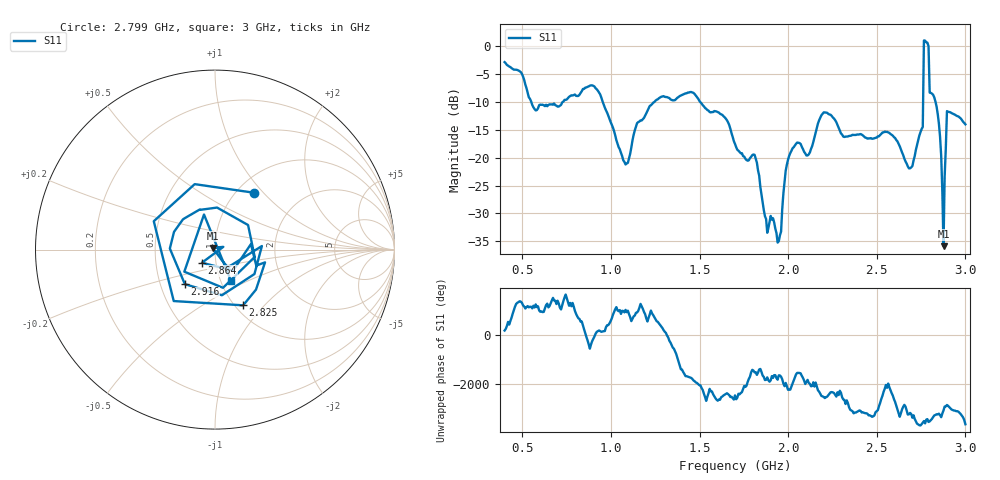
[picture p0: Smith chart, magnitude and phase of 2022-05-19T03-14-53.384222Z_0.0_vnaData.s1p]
!Created with skrf (http://scikit-rf.org).
# Hz S RI R 50.0
!freq ReS11 ImS11
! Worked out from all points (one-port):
!   401 points, 400 MHz to 3 GHz, reference 50 ohm
!   lowest |S11| = -35.9 dB at 2.877 GHz (marker M1), VSWR 1.03, Z = 48.7 + j0.955 ohm
!   |S11| at or under -10 dB: 550.7 MHz to 728 MHz (177.3 MHz wide, 27.7 % of centre); 953.9 MHz to 1.245 GHz (290.9 MHz wide, 26.5 % of centre); 1.504 GHz to 2.761 GHz (1.257 GHz wide, 59 % of centre) (the widest 3 of 4)
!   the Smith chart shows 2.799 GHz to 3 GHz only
!   S11 on the Smith chart (normalised r, x): 2.799 GHz: 1.19, +0.89; 2.825 GHz: 1.09, -0.77; 2.864 GHz: 0.86, -0.13; 2.916 GHz: 0.67, -0.27; 3 GHz: 1.12, -0.41
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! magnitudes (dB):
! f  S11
! 400 MHz  -2.8
! 569 MHz  -11.3
! 725 MHz  -10.1
! 907 MHz  -7.2
! 1.05 GHz  -18.5
! 1.089 GHz  -21.0
! 1.226 GHz  -10.6
! 1.375 GHz  -9.2
! 1.7 GHz  -17.5
! 1.81 GHz  -19.5
! 1.875 GHz  -31.0
! 1.947 GHz  -35.0
! 1.992 GHz  -21.3
! 2.025 GHz  -18.3
! 2.116 GHz  -19.4
! 2.207 GHz  -11.9
! 2.35 GHz  -16.1
! 2.571 GHz  -15.6
! 2.675 GHz  -21.5
! 2.747 GHz  -15.4
! 2.779 GHz  0.7
! 2.799 GHz  -8.3
! 2.825 GHz  -9.2
! 2.85 GHz  -13.9
! 2.864 GHz  -19.7
! 2.877 GHz  -35.9
! 2.916 GHz  -11.9
! 3 GHz  -14.0
